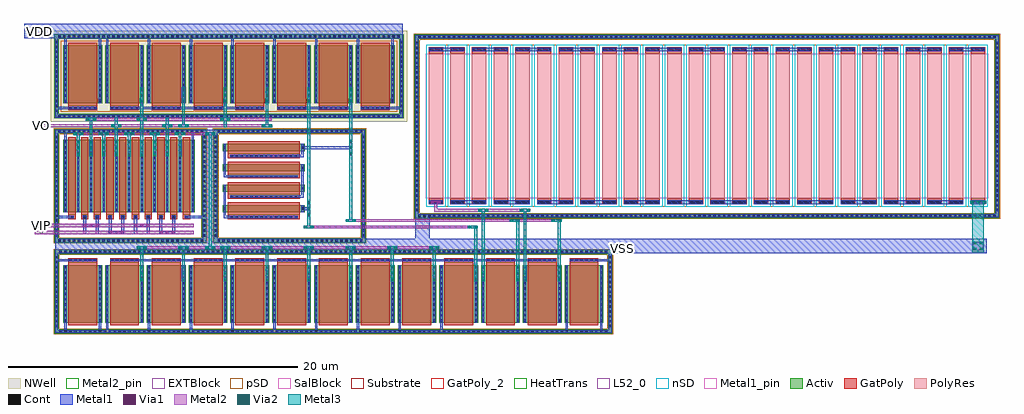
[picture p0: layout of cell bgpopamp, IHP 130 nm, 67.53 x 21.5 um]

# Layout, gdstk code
import gdstk
lib = gdstk.Library(unit=1e-6, precision=5e-09)
def R(c, l, rs):  # rectangles x0, y0, x1, y1
    for r in rs: c.add(gdstk.rectangle(r[:2], r[2:], *l))
def A(c, l, x, y, w, h, nx, ny, dx, dy):  # array of equal rectangles
    R(c, l, [(x+i*dx, y+j*dy, x+i*dx+w, y+j*dy+h) for i in range(nx) for j in range(ny)])
Activ = (1, 0)
GatPoly = (5, 0)
GatPoly_2 = (5, 2)
Cont = (6, 0)
nSD = (7, 0)
Metal1 = (8, 0)
Metal1_pin = (8, 2)
Metal2 = (10, 0)
Metal2_pin = (10, 2)
pSD = (14, 0)
Via1 = (19, 0)
SalBlock = (28, 0)
Via2 = (29, 0)
Metal3 = (30, 0)
NWell = (31, 0)
Substrate = (40, 0)
HeatTrans = (51, 0)
L52_0 = (52, 0)
EXTBlock = (111, 0)
PolyRes = (128, 0)

pmos = lib.new_cell('pmos')
R(pmos, Activ, [(0,0,0.3,0.3), (0,0,2.68,4), (2.38,0,2.68,0.3)])
R(pmos, GatPoly, [(0.34,-0.18,2.34,4.18), (0.34,-0.18,2.34,4.18)])
A(pmos, Cont, 0.07, 0.07, 0.16, 0.16, 1, 11, 0, 0.37)
A(pmos, Cont, 2.45, 0.07, 0.16, 0.16, 1, 11, 0, 0.37)
R(pmos, Metal1, [(0.07,0,0.23,4), (0.07,0,0.23,4), (2.45,0,2.61,4), (2.45,0,2.61,4)])
R(pmos, pSD, [(-0.18,-0.3,2.86,4.3)])
R(pmos, NWell, [(-0.31,-0.31,2.99,4.31)])
R(pmos, Substrate, [(2.38,0,2.68,0.3)])
R(pmos, HeatTrans, [(0.34,-0.18,2.34,4.18)])
pmos.add(gdstk.Label('pmos', (1.34,2), layer=63, texttype=0))
pmos.add(gdstk.Label('pmos', (1.34,2), layer=51, texttype=0))

nmos_1 = lib.new_cell('nmos$1')
A(nmos_1, Activ, 0, 0, 0.3, 0.3, 11, 1, 0.88, 0)
R(nmos_1, Activ, [(0,0,9.1,5)])
A(nmos_1, GatPoly, 0.34, -0.18, 0.5, 5.36, 10, 1, 0.88, 0)
R(nmos_1, GatPoly_2, [(0.34,-0.18,0.84,5.18)])
A(nmos_1, Cont, 0.07, 0.07, 0.16, 0.16, 11, 4, 0.88, 0.36)
A(nmos_1, Cont, 0.07, 1.515, 0.16, 0.16, 11, 3, 0.88, 0.36)
A(nmos_1, Cont, 0.07, 2.6, 0.16, 0.16, 11, 3, 0.88, 0.36)
A(nmos_1, Cont, 0.07, 3.685, 0.16, 0.16, 11, 3, 0.88, 0.36)
A(nmos_1, Cont, 0.07, 4.77, 0.16, 0.16, 11, 1, 0.88, 0)
A(nmos_1, Metal1, 0.07, 0, 0.16, 5, 11, 1, 0.88, 0)
R(nmos_1, Metal1_pin, [(0.07,0,0.23,5), (0.95,0,1.11,5)])
A(nmos_1, HeatTrans, 0.34, -0.18, 0.5, 5.36, 10, 1, 0.88, 0)
nmos_1.add(gdstk.Label('nmos', (0.59,2.5), layer=63, texttype=0))
nmos_1.add(gdstk.Label('nmos', (0.59,2.5), layer=51, texttype=0))
nmos_1.add(gdstk.Label('nmos', (1.47,2.5), layer=51, texttype=0))
nmos_1.add(gdstk.Label('nmos', (2.35,2.5), layer=51, texttype=0))
nmos_1.add(gdstk.Label('nmos', (3.23,2.5), layer=51, texttype=0))
nmos_1.add(gdstk.Label('nmos', (4.11,2.5), layer=51, texttype=0))
nmos_1.add(gdstk.Label('nmos', (4.99,2.5), layer=51, texttype=0))
nmos_1.add(gdstk.Label('nmos', (5.87,2.5), layer=51, texttype=0))
nmos_1.add(gdstk.Label('nmos', (6.75,2.5), layer=51, texttype=0))
nmos_1.add(gdstk.Label('nmos', (7.63,2.5), layer=51, texttype=0))
nmos_1.add(gdstk.Label('nmos', (8.51,2.5), layer=51, texttype=0))

nmos_2 = lib.new_cell('nmos$2')
R(nmos_2, Activ, [(0,0,0.3,0.3), (0,0,5.68,0.5), (5.38,0,5.68,0.3)])
R(nmos_2, GatPoly, [(0.34,-0.18,5.34,0.68)])
R(nmos_2, GatPoly_2, [(0.34,-0.18,5.34,0.68)])
R(nmos_2, Cont, [(0.07,0.17,0.23,0.33), (5.45,0.17,5.61,0.33)])
R(nmos_2, Metal1, [(0.07,0,0.23,0.5), (5.45,0,5.61,0.5)])
R(nmos_2, Metal1_pin, [(0.07,0,0.23,0.5), (5.45,0,5.61,0.5)])
R(nmos_2, HeatTrans, [(0.34,-0.18,5.34,0.68)])
nmos_2.add(gdstk.Label('nmos', (2.84,0.25), layer=63, texttype=0))
nmos_2.add(gdstk.Label('nmos', (2.84,0.25), layer=51, texttype=0))

via_stack = lib.new_cell('via_stack')
R(via_stack, GatPoly, [(-2.36,-0.15,2.36,0.15)])
A(via_stack, Cont, -2.29, -0.08, 0.16, 0.16, 14, 1, 0.34, 0)
R(via_stack, Metal1, [(-2.34,-0.08,2.34,0.08)])

via_stack_1 = lib.new_cell('via_stack$1')
R(via_stack_1, Activ, [(-11.88,-0.15,11.88,0.15)])
A(via_stack_1, Cont, -11.81, -0.08, 0.16, 0.16, 70, 1, 0.34, 0)
R(via_stack_1, Metal1, [(-11.86,-0.08,11.86,0.08)])

via_stack_3 = lib.new_cell('via_stack$3')
R(via_stack_3, GatPoly, [(-1,-0.15,1,0.15)])
A(via_stack_3, Cont, -0.93, -0.08, 0.16, 0.16, 6, 1, 0.34, 0)
R(via_stack_3, Metal1, [(-0.98,-0.08,0.98,0.08)])

via_stack_4 = lib.new_cell('via_stack$4')
R(via_stack_4, Activ, [(-0.15,-2.53,0.15,2.53)])
A(via_stack_4, Cont, -0.08, -2.46, 0.16, 0.16, 1, 15, 0, 0.34)
R(via_stack_4, Metal1, [(-0.08,-2.51,0.08,2.51)])

via_stack_6 = lib.new_cell('via_stack$6')
R(via_stack_6, GatPoly, [(-0.15,-0.15,0.15,0.15)])
R(via_stack_6, Cont, [(-0.08,-0.08,0.08,0.08)])
R(via_stack_6, Metal1, [(-0.13,-0.08,0.13,0.08)])

via_stack_7 = lib.new_cell('via_stack$7')
R(via_stack_7, Activ, [(-19.02,-0.15,19.02,0.15)])
A(via_stack_7, Cont, -18.95, -0.08, 0.16, 0.16, 112, 1, 0.34, 0)
R(via_stack_7, Metal1, [(-19,-0.08,19,0.08)])

via_stack_22 = lib.new_cell('via_stack$22')
R(via_stack_22, Metal1, [(-0.555,-0.105,0.555,0.105)])
R(via_stack_22, Metal2, [(-0.555,-0.1,0.555,0.1)])
A(via_stack_22, Via1, -0.505, -0.095, 0.19, 0.19, 3, 1, 0.41, 0)

via_stack_8 = lib.new_cell('via_stack$8')
R(via_stack_8, Activ, [(-5.08,-0.15,5.08,0.15)])
A(via_stack_8, Cont, -5.01, -0.08, 0.16, 0.16, 30, 1, 0.34, 0)
R(via_stack_8, Metal1, [(-5.06,-0.08,5.06,0.08)])

via_stack_14 = lib.new_cell('via_stack$14')
R(via_stack_14, Activ, [(-0.15,-3.55,0.15,3.55)])
A(via_stack_14, Cont, -0.08, -3.48, 0.16, 0.16, 1, 21, 0, 0.34)
R(via_stack_14, Metal1, [(-0.08,-3.53,0.08,3.53)])

rhigh_1 = lib.new_cell('rhigh$1')
A(rhigh_1, GatPoly, 0, -0.43, 1, 0.43, 26, 2, 1.5, 10.43)
A(rhigh_1, Cont, 0.07, -0.36, 0.86, 0.16, 26, 2, 1.5, 10.56)
A(rhigh_1, nSD, -0.18, -0.61, 1.36, 0.79, 26, 2, 1.5, 10.43)
R(rhigh_1, nSD, [(-0.18,0,1.18,10), (-0.18,0,1.18,10), (1.32,0,2.68,10), (1.32,0,2.68,10), (2.82,0,4.18,10), (2.82,0,4.18,10), (4.32,0,5.68,10), (4.32,0,5.68,10), (5.82,0,7.18,10), (5.82,0,7.18,10), (7.32,0,8.68,10), (7.32,0,8.68,10), (8.82,0,10.18,10), (8.82,0,10.18,10), (10.32,0,11.68,10), (10.32,0,11.68,10), (11.82,0,13.18,10), (11.82,0,13.18,10), (13.32,0,14.68,10), (13.32,0,14.68,10), (14.82,0,16.18,10), (14.82,0,16.18,10), (16.32,0,17.68,10), (16.32,0,17.68,10), (17.82,0,19.18,10), (17.82,0,19.18,10), (19.32,0,20.68,10), (19.32,0,20.68,10), (20.82,0,22.18,10), (20.82,0,22.18,10), (22.32,0,23.68,10), (22.32,0,23.68,10), (23.82,0,25.18,10), (23.82,0,25.18,10), (25.32,0,26.68,10), (25.32,0,26.68,10), (26.82,0,28.18,10), (26.82,0,28.18,10), (28.32,0,29.68,10), (28.32,0,29.68,10), (29.82,0,31.18,10), (29.82,0,31.18,10), (31.32,0,32.68,10), (31.32,0,32.68,10), (32.82,0,34.18,10), (32.82,0,34.18,10), (34.32,0,35.68,10), (34.32,0,35.68,10), (35.82,0,37.18,10), (35.82,0,37.18,10), (37.32,0,38.68,10), (37.32,0,38.68,10)])
A(rhigh_1, Metal1, 0.02, -0.41, 0.96, 0.26, 26, 2, 1.5, 10.56)
A(rhigh_1, Metal1, 1.52, -0.41, 2.46, 0.26, 12, 1, 3, 0)
A(rhigh_1, Metal1, 0.02, 10.15, 2.46, 0.26, 13, 1, 3, 0)
A(rhigh_1, Metal1_pin, 0.02, -0.41, 0.96, 0.26, 26, 2, 1.5, 10.56)
A(rhigh_1, pSD, -0.18, -0.61, 1.36, 0.79, 26, 2, 1.5, 10.43)
R(rhigh_1, pSD, [(-0.18,0,1.18,10), (-0.18,0,1.18,10), (1.32,0,2.68,10), (1.32,0,2.68,10), (2.82,0,4.18,10), (2.82,0,4.18,10), (4.32,0,5.68,10), (4.32,0,5.68,10), (5.82,0,7.18,10), (5.82,0,7.18,10), (7.32,0,8.68,10), (7.32,0,8.68,10), (8.82,0,10.18,10), (8.82,0,10.18,10), (10.32,0,11.68,10), (10.32,0,11.68,10), (11.82,0,13.18,10), (11.82,0,13.18,10), (13.32,0,14.68,10), (13.32,0,14.68,10), (14.82,0,16.18,10), (14.82,0,16.18,10), (16.32,0,17.68,10), (16.32,0,17.68,10), (17.82,0,19.18,10), (17.82,0,19.18,10), (19.32,0,20.68,10), (19.32,0,20.68,10), (20.82,0,22.18,10), (20.82,0,22.18,10), (22.32,0,23.68,10), (22.32,0,23.68,10), (23.82,0,25.18,10), (23.82,0,25.18,10), (25.32,0,26.68,10), (25.32,0,26.68,10), (26.82,0,28.18,10), (26.82,0,28.18,10), (28.32,0,29.68,10), (28.32,0,29.68,10), (29.82,0,31.18,10), (29.82,0,31.18,10), (31.32,0,32.68,10), (31.32,0,32.68,10), (32.82,0,34.18,10), (32.82,0,34.18,10), (34.32,0,35.68,10), (34.32,0,35.68,10), (35.82,0,37.18,10), (35.82,0,37.18,10), (37.32,0,38.68,10), (37.32,0,38.68,10)])
A(rhigh_1, SalBlock, -0.2, 0, 1.4, 10, 26, 1, 1.5, 0)
A(rhigh_1, L52_0, 0, 0, 1, 10, 26, 1, 1.5, 0)
A(rhigh_1, EXTBlock, -0.18, -0.61, 1.36, 0.79, 26, 2, 1.5, 10.43)
A(rhigh_1, EXTBlock, -0.2, 0, 1.4, 10, 26, 1, 1.5, 0)
A(rhigh_1, PolyRes, 0, 0, 1, 10, 26, 1, 1.5, 0)
rhigh_1.add(gdstk.Label('rhigh r=14326.667', (0.5,5), layer=63, texttype=0))
rhigh_1.add(gdstk.Label('rhigh r=14326.667', (0.5,5), layer=63, texttype=0))
rhigh_1.add(gdstk.Label('rhigh r=14326.667', (0.5,5), layer=63, texttype=0))
rhigh_1.add(gdstk.Label('rhigh r=14326.667', (0.5,5), layer=63, texttype=0))
rhigh_1.add(gdstk.Label('rhigh r=14326.667', (0.5,5), layer=63, texttype=0))
rhigh_1.add(gdstk.Label('rhigh r=14326.667', (0.5,5), layer=63, texttype=0))
rhigh_1.add(gdstk.Label('rhigh r=14326.667', (0.5,5), layer=63, texttype=0))
rhigh_1.add(gdstk.Label('rhigh r=14326.667', (0.5,5), layer=63, texttype=0))
rhigh_1.add(gdstk.Label('rhigh r=14326.667', (0.5,5), layer=63, texttype=0))
rhigh_1.add(gdstk.Label('rhigh r=14326.667', (0.5,5), layer=63, texttype=0))
rhigh_1.add(gdstk.Label('rhigh r=14326.667', (0.5,5), layer=63, texttype=0))
rhigh_1.add(gdstk.Label('rhigh r=14326.667', (0.5,5), layer=63, texttype=0))
rhigh_1.add(gdstk.Label('rhigh r=14326.667', (0.5,5), layer=63, texttype=0))
rhigh_1.add(gdstk.Label('rhigh r=14326.667', (0.5,5), layer=63, texttype=0))
rhigh_1.add(gdstk.Label('rhigh r=14326.667', (0.5,5), layer=63, texttype=0))
rhigh_1.add(gdstk.Label('rhigh r=14326.667', (0.5,5), layer=63, texttype=0))
rhigh_1.add(gdstk.Label('rhigh r=14326.667', (0.5,5), layer=63, texttype=0))
rhigh_1.add(gdstk.Label('rhigh r=14326.667', (0.5,5), layer=63, texttype=0))
rhigh_1.add(gdstk.Label('rhigh r=14326.667', (0.5,5), layer=63, texttype=0))
rhigh_1.add(gdstk.Label('rhigh r=14326.667', (0.5,5), layer=63, texttype=0))
rhigh_1.add(gdstk.Label('rhigh r=14326.667', (0.5,5), layer=63, texttype=0))
rhigh_1.add(gdstk.Label('rhigh r=14326.667', (0.5,5), layer=63, texttype=0))
rhigh_1.add(gdstk.Label('rhigh r=14326.667', (0.5,5), layer=63, texttype=0))
rhigh_1.add(gdstk.Label('rhigh r=14326.667', (0.5,5), layer=63, texttype=0))
rhigh_1.add(gdstk.Label('rhigh r=14326.667', (0.5,5), layer=63, texttype=0))
rhigh_1.add(gdstk.Label('rhigh r=14326.667', (0.5,5), layer=63, texttype=0))
rhigh_1.add(gdstk.Label('rhigh', (0.5,5), layer=52, texttype=0))
rhigh_1.add(gdstk.Label('rhigh', (2,5), layer=52, texttype=0))
rhigh_1.add(gdstk.Label('rhigh', (3.5,5), layer=52, texttype=0))
rhigh_1.add(gdstk.Label('rhigh', (5,5), layer=52, texttype=0))
rhigh_1.add(gdstk.Label('rhigh', (6.5,5), layer=52, texttype=0))
rhigh_1.add(gdstk.Label('rhigh', (8,5), layer=52, texttype=0))
rhigh_1.add(gdstk.Label('rhigh', (9.5,5), layer=52, texttype=0))
rhigh_1.add(gdstk.Label('rhigh', (11,5), layer=52, texttype=0))
rhigh_1.add(gdstk.Label('rhigh', (12.5,5), layer=52, texttype=0))
rhigh_1.add(gdstk.Label('rhigh', (14,5), layer=52, texttype=0))
rhigh_1.add(gdstk.Label('rhigh', (15.5,5), layer=52, texttype=0))
rhigh_1.add(gdstk.Label('rhigh', (17,5), layer=52, texttype=0))
rhigh_1.add(gdstk.Label('rhigh', (18.5,5), layer=52, texttype=0))
rhigh_1.add(gdstk.Label('rhigh', (20,5), layer=52, texttype=0))
rhigh_1.add(gdstk.Label('rhigh', (21.5,5), layer=52, texttype=0))
rhigh_1.add(gdstk.Label('rhigh', (23,5), layer=52, texttype=0))
rhigh_1.add(gdstk.Label('rhigh', (24.5,5), layer=52, texttype=0))
rhigh_1.add(gdstk.Label('rhigh', (26,5), layer=52, texttype=0))
rhigh_1.add(gdstk.Label('rhigh', (27.5,5), layer=52, texttype=0))
rhigh_1.add(gdstk.Label('rhigh', (29,5), layer=52, texttype=0))
rhigh_1.add(gdstk.Label('rhigh', (30.5,5), layer=52, texttype=0))
rhigh_1.add(gdstk.Label('rhigh', (32,5), layer=52, texttype=0))
rhigh_1.add(gdstk.Label('rhigh', (33.5,5), layer=52, texttype=0))
rhigh_1.add(gdstk.Label('rhigh', (35,5), layer=52, texttype=0))
rhigh_1.add(gdstk.Label('rhigh', (36.5,5), layer=52, texttype=0))
rhigh_1.add(gdstk.Label('rhigh', (38,5), layer=52, texttype=0))

via_stack_12 = lib.new_cell('via_stack$12')
R(via_stack_12, Activ, [(-20.04,-0.15,20.04,0.15)])
A(via_stack_12, Cont, -19.97, -0.08, 0.16, 0.16, 118, 1, 0.34, 0)
R(via_stack_12, Metal1, [(-20.02,-0.08,20.02,0.08)])

via_stack_17 = lib.new_cell('via_stack$17')
R(via_stack_17, Activ, [(-0.15,-5.93,0.15,5.93)])
A(via_stack_17, Cont, -0.08, -5.86, 0.16, 0.16, 1, 35, 0, 0.34)
R(via_stack_17, Metal1, [(-0.08,-5.91,0.08,5.91)])

nmos = lib.new_cell('nmos')
R(nmos, Activ, [(0,0,0.3,0.3), (0,0,2.68,4), (2.38,0,2.68,0.3)])
R(nmos, GatPoly, [(0.34,-0.18,2.34,4.18)])
R(nmos, GatPoly_2, [(0.34,-0.18,2.34,4.18)])
A(nmos, Cont, 0.07, 0.07, 0.16, 0.16, 1, 11, 0, 0.37)
A(nmos, Cont, 2.45, 0.07, 0.16, 0.16, 1, 11, 0, 0.37)
R(nmos, Metal1, [(0.07,0,0.23,4), (2.45,0,2.61,4)])
R(nmos, Metal1_pin, [(0.07,0,0.23,4), (2.45,0,2.61,4)])
R(nmos, HeatTrans, [(0.34,-0.18,2.34,4.18)])
nmos.add(gdstk.Label('nmos', (1.34,2), layer=63, texttype=0))
nmos.add(gdstk.Label('nmos', (1.34,2), layer=51, texttype=0))

via_stack_23 = lib.new_cell('via_stack$23')
R(via_stack_23, Metal1, [(-0.105,-0.555,0.105,0.555)])
R(via_stack_23, Metal2, [(-0.1,-0.555,0.1,0.555)])
A(via_stack_23, Via1, -0.095, -0.505, 0.19, 0.19, 1, 3, 0, 0.41)
A(via_stack_23, Via2, -0.095, -0.505, 0.19, 0.19, 1, 3, 0, 0.41)
R(via_stack_23, Metal3, [(-0.1,-0.555,0.1,0.555)])

via_stack_10 = lib.new_cell('via_stack$10')
R(via_stack_10, Metal1, [(-0.35,-0.105,0.35,0.105)])
R(via_stack_10, Metal2, [(-0.35,-0.1,0.35,0.1)])
R(via_stack_10, Via1, [(-0.3,-0.095,-0.11,0.095), (0.11,-0.095,0.3,0.095)])

via_stack_15 = lib.new_cell('via_stack$15')
R(via_stack_15, Metal2, [(-0.35,-0.1,0.35,0.1)])
R(via_stack_15, Via2, [(-0.3,-0.095,-0.11,0.095), (0.11,-0.095,0.3,0.095)])
R(via_stack_15, Metal3, [(-0.35,-0.1,0.35,0.1)])

via_stack_24 = lib.new_cell('via_stack$24')
R(via_stack_24, Metal1, [(-0.555,-0.105,0.555,0.105)])
R(via_stack_24, Metal2, [(-0.555,-0.1,0.555,0.1)])
A(via_stack_24, Via1, -0.505, -0.095, 0.19, 0.19, 3, 1, 0.41, 0)
A(via_stack_24, Via2, -0.505, -0.095, 0.19, 0.19, 3, 1, 0.41, 0)
R(via_stack_24, Metal3, [(-0.555,-0.1,0.555,0.1)])

via_stack_20 = lib.new_cell('via_stack$20')
R(via_stack_20, Metal1, [(-0.35,-0.31,0.35,0.31)])
R(via_stack_20, Metal2, [(-0.35,-0.305,0.35,0.305)])
R(via_stack_20, Via1, [(-0.3,-0.3,-0.11,-0.11), (0.11,-0.3,0.3,-0.11), (-0.3,0.11,-0.11,0.3), (0.11,0.11,0.3,0.3)])
R(via_stack_20, Via2, [(-0.3,-0.3,-0.11,-0.11), (0.11,-0.3,0.3,-0.11), (-0.3,0.11,-0.11,0.3), (0.11,0.11,0.3,0.3)])
R(via_stack_20, Metal3, [(-0.35,-0.305,0.35,0.305)])

bgpopamp = lib.new_cell('bgpopamp')
R(bgpopamp, Activ, [(19.37,174.25,19.67,180.05), (57.69,174.25,57.99,180.05), (19.37,180.55,19.67,188.4), (29.59,180.55,29.89,188.4), (30.39,180.55,30.69,188.4), (40.61,180.55,40.91,188.4), (44.29,182.245,44.59,194.95), (84.45,182.245,84.75,194.95), (19.37,189.15,19.67,194.95), (43.24,189.15,43.54,194.95)])
A(bgpopamp, GatPoly, 20.34, 182.17, 0.5, 0.3, 10, 1, 0.88, 0)
A(bgpopamp, GatPoly, 31.36, 182.17, 5, 0.3, 1, 4, 0, 1.41)
A(bgpopamp, Metal1, 22.96, 174.5, 0.16, 0.5, 9, 1, 2.89, 0)
A(bgpopamp, Metal1, 22.96, 194.2, 0.16, 0.5, 7, 1, 2.89, 0)
R(bgpopamp, Metal1, [(20.07,174.5,20.23,175), (22.45,174.5,22.61,175), (54.75,174.5,54.91,175), (57.13,174.5,57.29,175), (48.435,179,48.645,179.25), (19.62,179.25,20.36,179.41), (23.25,179.25,54.11,179.41), (57,179.25,57.74,179.41), (19.42,179.8,83.87,180.8), (29.84,180.8,30.44,188.35), (44.34,180.8,45.34,182.495), (19.62,182.24,20.46,182.4), (28.64,182.24,29.64,182.4), (20.07,187.65,20.23,188.15), (28.87,187.65,29.03,188.15), (19.62,189.79,20.36,189.95), (23.25,189.79,33.88,189.95), (36.77,189.79,37.7,189.95), (42.55,189.79,43.29,189.95), (20.07,194.2,20.23,194.7), (22.45,194.2,22.61,194.7), (42.68,194.2,42.84,194.7), (17.275,194.7,43.49,195.7)])
R(bgpopamp, Metal1_pin, [(58.505,179.995,59.025,180.365), (18.16,195.05,18.68,195.42)])
R(bgpopamp, Metal2_pin, [(18.365,181.145,18.565,181.345), (18.365,181.645,18.565,181.845), (18.365,188.53,18.565,188.73)])
R(bgpopamp, pSD, [(45.09,183.015,83.95,194.235), (19.82,189.6,43.09,194.5)])
R(bgpopamp, SalBlock, [(45.07,183.625,83.97,193.625)])
R(bgpopamp, NWell, [(19.12,188.9,43.79,195.2)])
R(bgpopamp, EXTBlock, [(45.09,183.015,83.95,194.235)])
bgpopamp.add(gdstk.FlexPath([(39.66,189.87),(39.87,189.87),(39.87,190.2)], 0.16, ends="flush", simple_path=True, layer=8, datatype=0))  # Metal1
bgpopamp.add(gdstk.FlexPath([(25.21,189.87),(25.42,189.87),(25.42,190.2)], 0.16, ends="flush", simple_path=True, layer=8, datatype=0))  # Metal1
bgpopamp.add(gdstk.FlexPath([(30.99,189.87),(31.2,189.87),(31.2,190.2)], 0.16, ends="flush", simple_path=True, layer=8, datatype=0))  # Metal1
bgpopamp.add(gdstk.FlexPath([(36.63,187.125),(39.975,187.125)], 0.2, ends="flush", simple_path=True, layer=8, datatype=0))  # Metal1
bgpopamp.add(gdstk.FlexPath([(36.55,186.88),(36.55,186.55),(36.21,186.55)], 0.16, ends="flush", simple_path=True, layer=8, datatype=0))  # Metal1
bgpopamp.add(gdstk.FlexPath([(31.17,186.88),(31.17,185.97)], 0.16, ends="flush", simple_path=True, layer=8, datatype=0))  # Metal1
bgpopamp.add(gdstk.FlexPath([(31.17,185.47),(31.17,185.14),(31.53,185.14)], 0.16, ends="flush", simple_path=True, layer=8, datatype=0))  # Metal1
bgpopamp.add(gdstk.FlexPath([(31.17,184.06),(31.17,183.15)], 0.16, ends="flush", simple_path=True, layer=8, datatype=0))  # Metal1
bgpopamp.add(gdstk.FlexPath([(31.17,182.65),(31.17,182.32),(31.53,182.32)], 0.16, ends="flush", simple_path=True, layer=8, datatype=0))  # Metal1
bgpopamp.add(gdstk.FlexPath([(36.55,185.47),(36.55,184.56)], 0.16, ends="flush", simple_path=True, layer=8, datatype=0))  # Metal1
bgpopamp.add(gdstk.FlexPath([(36.55,184.06),(36.55,183.73),(36.19,183.73)], 0.16, ends="flush", simple_path=True, layer=8, datatype=0))  # Metal1
bgpopamp.add(gdstk.FlexPath([(36.63,182.9),(37.085,182.9)], 0.2, ends="flush", simple_path=True, layer=8, datatype=0))  # Metal1
bgpopamp.add(gdstk.FlexPath([(19.42,194.8),(43.39,194.8),(43.39,189.3),(19.52,189.3),(19.52,194.7)], 0.2, ends="flush", simple_path=True, layer=8, datatype=0))  # Metal1
bgpopamp.add(gdstk.FlexPath([(19.42,179.9),(57.84,179.9),(57.84,174.4),(19.52,174.4),(19.52,179.8)], 0.2, ends="flush", simple_path=True, layer=8, datatype=0))  # Metal1
bgpopamp.add(gdstk.FlexPath([(19.42,188.25),(29.74,188.25),(29.74,180.7),(19.52,180.7),(19.52,188.15)], 0.2, ends="flush", simple_path=True, layer=8, datatype=0))  # Metal1
bgpopamp.add(gdstk.FlexPath([(21.47,182.45),(21.47,181.14)], 0.21, ends="flush", simple_path=True, layer=8, datatype=0))  # Metal1
bgpopamp.add(gdstk.FlexPath([(22.35,182.45),(22.35,181.14)], 0.21, ends="flush", simple_path=True, layer=8, datatype=0))  # Metal1
bgpopamp.add(gdstk.FlexPath([(23.23,182.45),(23.23,181.14)], 0.21, ends="flush", simple_path=True, layer=8, datatype=0))  # Metal1
bgpopamp.add(gdstk.FlexPath([(24.11,182.45),(24.11,181.14)], 0.21, ends="flush", simple_path=True, layer=8, datatype=0))  # Metal1
bgpopamp.add(gdstk.FlexPath([(24.99,182.45),(24.99,181.14)], 0.21, ends="flush", simple_path=True, layer=8, datatype=0))  # Metal1
bgpopamp.add(gdstk.FlexPath([(25.87,182.45),(25.87,181.14)], 0.21, ends="flush", simple_path=True, layer=8, datatype=0))  # Metal1
bgpopamp.add(gdstk.FlexPath([(26.75,182.45),(26.75,181.14)], 0.21, ends="flush", simple_path=True, layer=8, datatype=0))  # Metal1
bgpopamp.add(gdstk.FlexPath([(27.63,182.45),(27.63,181.14)], 0.21, ends="flush", simple_path=True, layer=8, datatype=0))  # Metal1
bgpopamp.add(gdstk.FlexPath([(30.44,188.25),(40.76,188.25),(40.76,180.7),(30.54,180.7),(30.54,188.15)], 0.2, ends="flush", simple_path=True, layer=8, datatype=0))  # Metal1
bgpopamp.add(gdstk.FlexPath([(44.34,194.8),(84.6,194.8),(84.6,182.395),(44.44,182.395),(44.44,194.7)], 0.2, ends="flush", simple_path=True, layer=8, datatype=0))  # Metal1
bgpopamp.add(gdstk.FlexPath([(45.765,183.445),(45.765,182.78),(52.29,182.78)], 0.2, ends="flush", simple_path=True, layer=10, datatype=0))  # Metal2
bgpopamp.add(gdstk.FlexPath([(54.465,182.08),(39.52,182.08)], 0.2, ends="flush", simple_path=True, layer=10, datatype=0))  # Metal2
bgpopamp.add(gdstk.FlexPath([(48.685,181.63),(36.63,181.63)], 0.2, ends="flush", simple_path=True, layer=10, datatype=0))  # Metal2
bgpopamp.add(gdstk.FlexPath([(45.815,180.2),(25.22,180.2)], 0.2, ends="flush", simple_path=True, layer=10, datatype=0))  # Metal2
bgpopamp.add(gdstk.FlexPath([(18.035,188.63),(34.425,188.63)], 0.2, ends="flush", simple_path=True, layer=10, datatype=0))  # Metal2
bgpopamp.add(gdstk.FlexPath([(20.68,188.08),(30.155,188.08)], 0.2, ends="flush", simple_path=True, layer=10, datatype=0))  # Metal2
bgpopamp.add(gdstk.FlexPath([(21.56,189.08),(34.425,189.08)], 0.2, ends="flush", simple_path=True, layer=10, datatype=0))  # Metal2
bgpopamp.add(gdstk.FlexPath([(18.025,181.745),(29.02,181.745)], 0.25, ends="flush", simple_path=True, layer=10, datatype=0))  # Metal2
bgpopamp.add(gdstk.FlexPath([(18.025,181.245),(29.02,181.245)], 0.25, ends="flush", simple_path=True, layer=10, datatype=0))  # Metal2
bgpopamp.add(gdstk.FlexPath([(49.05,178.3),(49.05,182.88)], 0.2, ends="flush", simple_path=True, layer=30, datatype=0))  # Metal3
bgpopamp.add(gdstk.FlexPath([(51.94,178.3),(51.94,182.88)], 0.2, ends="flush", simple_path=True, layer=30, datatype=0))  # Metal3
bgpopamp.add(gdstk.FlexPath([(83.28,179.865),(83.28,183.445)], 0.8, ends="flush", simple_path=True, layer=30, datatype=0))  # Metal3
bgpopamp.add(gdstk.FlexPath([(54.32,178.3),(54.32,182.18)], 0.2, ends="flush", simple_path=True, layer=30, datatype=0))  # Metal3
bgpopamp.add(gdstk.FlexPath([(51.43,178.3),(51.43,182.18)], 0.2, ends="flush", simple_path=True, layer=30, datatype=0))  # Metal3
bgpopamp.add(gdstk.FlexPath([(39.87,190.9),(39.87,181.98)], 0.2, ends="flush", simple_path=True, layer=30, datatype=0))  # Metal3
bgpopamp.add(gdstk.FlexPath([(36.98,190.9),(36.98,181.53)], 0.2, ends="flush", simple_path=True, layer=30, datatype=0))  # Metal3
bgpopamp.add(gdstk.FlexPath([(48.54,178.3),(48.54,181.73)], 0.2, ends="flush", simple_path=True, layer=30, datatype=0))  # Metal3
bgpopamp.add(gdstk.FlexPath([(42.76,178.3),(42.76,180.3)], 0.2, ends="flush", simple_path=True, layer=30, datatype=0))  # Metal3
bgpopamp.add(gdstk.FlexPath([(45.65,178.3),(45.65,180.3)], 0.2, ends="flush", simple_path=True, layer=30, datatype=0))  # Metal3
bgpopamp.add(gdstk.FlexPath([(36.98,178.3),(36.98,180.3)], 0.2, ends="flush", simple_path=True, layer=30, datatype=0))  # Metal3
bgpopamp.add(gdstk.FlexPath([(39.87,178.3),(39.87,180.3)], 0.2, ends="flush", simple_path=True, layer=30, datatype=0))  # Metal3
bgpopamp.add(gdstk.FlexPath([(31.2,178.3),(31.2,180.3)], 0.2, ends="flush", simple_path=True, layer=30, datatype=0))  # Metal3
bgpopamp.add(gdstk.FlexPath([(34.09,178.3),(34.09,180.3)], 0.2, ends="flush", simple_path=True, layer=30, datatype=0))  # Metal3
bgpopamp.add(gdstk.FlexPath([(25.42,178.3),(25.42,180.3)], 0.2, ends="flush", simple_path=True, layer=30, datatype=0))  # Metal3
bgpopamp.add(gdstk.FlexPath([(28.31,178.3),(28.31,180.3)], 0.2, ends="flush", simple_path=True, layer=30, datatype=0))  # Metal3
bgpopamp.add(gdstk.FlexPath([(21.91,186.95),(21.91,189.18)], 0.2, ends="flush", simple_path=True, layer=30, datatype=0))  # Metal3
bgpopamp.add(gdstk.FlexPath([(25.43,186.95),(25.43,189.18)], 0.2, ends="flush", simple_path=True, layer=30, datatype=0))  # Metal3
bgpopamp.add(gdstk.FlexPath([(21.03,186.95),(21.03,188.18)], 0.2, ends="flush", simple_path=True, layer=30, datatype=0))  # Metal3
bgpopamp.add(gdstk.FlexPath([(22.79,186.95),(22.79,188.18)], 0.2, ends="flush", simple_path=True, layer=30, datatype=0))  # Metal3
bgpopamp.add(gdstk.FlexPath([(24.55,186.95),(24.55,188.18)], 0.2, ends="flush", simple_path=True, layer=30, datatype=0))  # Metal3
bgpopamp.add(gdstk.FlexPath([(26.31,186.95),(26.31,188.18)], 0.2, ends="flush", simple_path=True, layer=30, datatype=0))  # Metal3
bgpopamp.add(gdstk.FlexPath([(28.07,186.95),(28.07,188.18)], 0.2, ends="flush", simple_path=True, layer=30, datatype=0))  # Metal3
bgpopamp.add(gdstk.FlexPath([(23.67,186.95),(23.67,189.18)], 0.2, ends="flush", simple_path=True, layer=30, datatype=0))  # Metal3
bgpopamp.add(gdstk.FlexPath([(27.19,186.95),(27.19,189.18)], 0.2, ends="flush", simple_path=True, layer=30, datatype=0))  # Metal3
bgpopamp.add(gdstk.FlexPath([(31.2,190.9),(31.2,188.53)], 0.2, ends="flush", simple_path=True, layer=30, datatype=0))  # Metal3
bgpopamp.add(gdstk.FlexPath([(34.09,190.9),(34.09,188.53)], 0.2, ends="flush", simple_path=True, layer=30, datatype=0))  # Metal3
bgpopamp.add(gdstk.FlexPath([(28.31,190.9),(28.31,188.53)], 0.2, ends="flush", simple_path=True, layer=30, datatype=0))  # Metal3
bgpopamp.add(gdstk.FlexPath([(25.42,190.9),(25.42,188.98)], 0.2, ends="flush", simple_path=True, layer=30, datatype=0))  # Metal3
bgpopamp.add(gdstk.FlexPath([(30.15,180.1),(30.15,188.18)], 0.2, ends="flush", simple_path=True, layer=30, datatype=0))  # Metal3
bgpopamp.add(gdstk.FlexPath([(19.32,179.9),(57.84,179.9),(57.84,174.4),(19.52,174.4),(19.52,179.7)], 0.4, ends="flush", simple_path=True, layer=14, datatype=0))  # pSD
bgpopamp.add(gdstk.FlexPath([(19.32,188.25),(29.74,188.25),(29.74,180.7),(19.52,180.7),(19.52,188.05)], 0.4, ends="flush", simple_path=True, layer=14, datatype=0))  # pSD
bgpopamp.add(gdstk.FlexPath([(30.34,188.25),(40.76,188.25),(40.76,180.7),(30.54,180.7),(30.54,188.05)], 0.4, ends="flush", simple_path=True, layer=14, datatype=0))  # pSD
bgpopamp.add(gdstk.FlexPath([(44.24,194.8),(84.6,194.8),(84.6,182.395),(44.44,182.395),(44.44,194.6)], 0.4, ends="flush", simple_path=True, layer=14, datatype=0))  # pSD
r = gdstk.Reference(pmos, (20,190.2)); r.repetition = gdstk.Repetition(8, 1, v1=(2.89,0), v2=(0,0)); bgpopamp.add(r)
bgpopamp.add(gdstk.Reference(nmos_1, (20,182.65)))
r = gdstk.Reference(nmos_2, (31.02,182.65)); r.repetition = gdstk.Repetition(1, 4, v1=(0,0), v2=(0,1.41)); bgpopamp.add(r)
bgpopamp.add(gdstk.Reference(via_stack, (33.87,182.32)))
bgpopamp.add(gdstk.Reference(via_stack, (33.87,183.73)))
bgpopamp.add(gdstk.Reference(via_stack, (33.87,185.14)))
bgpopamp.add(gdstk.Reference(via_stack, (33.87,186.55)))
bgpopamp.add(gdstk.Reference(via_stack_1, (31.455,194.8)))
r = gdstk.Reference(via_stack_3, (21.34,189.87)); r.repetition = gdstk.Repetition(8, 1, v1=(2.89,0), v2=(0,0)); bgpopamp.add(r)
bgpopamp.add(gdstk.Reference(via_stack_1, (31.455,189.3)))
bgpopamp.add(gdstk.Reference(via_stack_4, (43.39,192.05)))
bgpopamp.add(gdstk.Reference(via_stack_4, (19.52,192.05)))
r = gdstk.Reference(via_stack_3, (21.34,179.33)); r.repetition = gdstk.Repetition(13, 1, v1=(2.89,0), v2=(0,0)); bgpopamp.add(r)
r = gdstk.Reference(via_stack_6, (20.59,182.32)); r.repetition = gdstk.Repetition(10, 1, v1=(0.88,0), v2=(0,0)); bgpopamp.add(r)
bgpopamp.add(gdstk.Reference(via_stack_7, (38.68,179.9)))
bgpopamp.add(gdstk.Reference(via_stack_22, (21.91,181.745)))
bgpopamp.add(gdstk.Reference(via_stack_7, (38.68,174.4)))
bgpopamp.add(gdstk.Reference(via_stack_4, (57.84,177.15)))
bgpopamp.add(gdstk.Reference(via_stack_4, (19.52,177.15)))
bgpopamp.add(gdstk.Reference(via_stack_8, (24.655,188.25)))
bgpopamp.add(gdstk.Reference(via_stack_8, (24.655,180.7)))
bgpopamp.add(gdstk.Reference(via_stack_14, (29.74,184.45)))
bgpopamp.add(gdstk.Reference(via_stack_14, (19.52,184.45)))
bgpopamp.add(gdstk.Reference(via_stack_22, (25.43,181.745)))
bgpopamp.add(gdstk.Reference(via_stack_22, (27.19,181.245)))
bgpopamp.add(gdstk.Reference(via_stack_22, (23.67,181.245)))
bgpopamp.add(gdstk.Reference(rhigh_1, (45.27,183.625)))
bgpopamp.add(gdstk.Reference(via_stack_8, (35.675,188.25)))
bgpopamp.add(gdstk.Reference(via_stack_12, (64.53,194.8)))
bgpopamp.add(gdstk.Reference(via_stack_8, (35.675,180.7)))
bgpopamp.add(gdstk.Reference(via_stack_14, (40.76,184.45)))
bgpopamp.add(gdstk.Reference(via_stack_14, (30.54,184.45)))
bgpopamp.add(gdstk.Reference(via_stack_12, (64.53,182.395)))
bgpopamp.add(gdstk.Reference(via_stack_17, (84.6,188.575)))
bgpopamp.add(gdstk.Reference(via_stack_17, (44.44,188.575)))
r = gdstk.Reference(nmos, (20,175)); r.repetition = gdstk.Repetition(13, 1, v1=(2.89,0), v2=(0,0)); bgpopamp.add(r)
bgpopamp.add(gdstk.Reference(via_stack_23, (25.42,178.445)))
bgpopamp.add(gdstk.Reference(via_stack_23, (28.31,178.445)))
bgpopamp.add(gdstk.Reference(via_stack_23, (31.2,178.445)))
bgpopamp.add(gdstk.Reference(via_stack_23, (34.09,178.445)))
bgpopamp.add(gdstk.Reference(via_stack_23, (36.98,178.445)))
bgpopamp.add(gdstk.Reference(via_stack_23, (39.87,178.445)))
bgpopamp.add(gdstk.Reference(via_stack_23, (42.76,178.445)))
bgpopamp.add(gdstk.Reference(via_stack_23, (45.65,178.445)))
bgpopamp.add(gdstk.Reference(via_stack_23, (48.54,178.445)))
bgpopamp.add(gdstk.Reference(via_stack_23, (51.43,178.445)))
bgpopamp.add(gdstk.Reference(via_stack_23, (54.32,178.445)))
bgpopamp.add(gdstk.Reference(via_stack_23, (49.05,178.445)))
bgpopamp.add(gdstk.Reference(via_stack_23, (51.94,178.445)))
bgpopamp.add(gdstk.Reference(via_stack_10, (45.765,183.345)))
bgpopamp.add(gdstk.Reference(via_stack_15, (49.05,182.78)))
bgpopamp.add(gdstk.Reference(via_stack_15, (51.94,182.78)))
bgpopamp.add(gdstk.Reference(via_stack_24, (83.28,183.345)))
bgpopamp.add(gdstk.Reference(via_stack_20, (83.28,180.31)))
bgpopamp.add(gdstk.Reference(via_stack_15, (54.115,182.08)))
bgpopamp.add(gdstk.Reference(via_stack_15, (51.225,182.08)))
bgpopamp.add(gdstk.Reference(via_stack_23, (39.87,190.755)))
bgpopamp.add(gdstk.Reference(via_stack_15, (39.87,182.08)))
bgpopamp.add(gdstk.Reference(via_stack_23, (36.98,190.755)))
bgpopamp.add(gdstk.Reference(via_stack_15, (48.335,181.63)))
bgpopamp.add(gdstk.Reference(via_stack_15, (36.98,181.63)))
bgpopamp.add(gdstk.Reference(via_stack_15, (42.76,180.2)))
bgpopamp.add(gdstk.Reference(via_stack_15, (45.65,180.2)))
bgpopamp.add(gdstk.Reference(via_stack_15, (36.98,180.2)))
bgpopamp.add(gdstk.Reference(via_stack_15, (39.87,180.2)))
bgpopamp.add(gdstk.Reference(via_stack_15, (31.2,180.2)))
bgpopamp.add(gdstk.Reference(via_stack_15, (34.09,180.2)))
bgpopamp.add(gdstk.Reference(via_stack_15, (25.42,180.2)))
bgpopamp.add(gdstk.Reference(via_stack_15, (28.31,180.2)))
bgpopamp.add(gdstk.Reference(via_stack_23, (21.03,187.095)))
bgpopamp.add(gdstk.Reference(via_stack_23, (21.91,187.095)))
bgpopamp.add(gdstk.Reference(via_stack_23, (22.79,187.095)))
bgpopamp.add(gdstk.Reference(via_stack_23, (23.67,187.095)))
bgpopamp.add(gdstk.Reference(via_stack_23, (24.55,187.095)))
bgpopamp.add(gdstk.Reference(via_stack_23, (25.43,187.095)))
bgpopamp.add(gdstk.Reference(via_stack_23, (26.31,187.095)))
bgpopamp.add(gdstk.Reference(via_stack_23, (27.19,187.095)))
bgpopamp.add(gdstk.Reference(via_stack_23, (28.07,187.095)))
bgpopamp.add(gdstk.Reference(via_stack_15, (21.91,189.08)))
bgpopamp.add(gdstk.Reference(via_stack_15, (25.43,189.08)))
bgpopamp.add(gdstk.Reference(via_stack_15, (22.79,188.08)))
bgpopamp.add(gdstk.Reference(via_stack_15, (21.03,188.08)))
bgpopamp.add(gdstk.Reference(via_stack_15, (24.55,188.08)))
bgpopamp.add(gdstk.Reference(via_stack_15, (26.31,188.08)))
bgpopamp.add(gdstk.Reference(via_stack_15, (28.07,188.08)))
bgpopamp.add(gdstk.Reference(via_stack_15, (23.67,188.63)))
bgpopamp.add(gdstk.Reference(via_stack_15, (27.19,188.63)))
bgpopamp.add(gdstk.Reference(via_stack_23, (31.2,190.755)))
bgpopamp.add(gdstk.Reference(via_stack_23, (34.09,190.755)))
bgpopamp.add(gdstk.Reference(via_stack_23, (28.31,190.755)))
bgpopamp.add(gdstk.Reference(via_stack_15, (28.31,188.63)))
bgpopamp.add(gdstk.Reference(via_stack_15, (34.09,188.63)))
bgpopamp.add(gdstk.Reference(via_stack_15, (31.2,189.08)))
bgpopamp.add(gdstk.Reference(via_stack_23, (25.42,190.755)))
bgpopamp.add(gdstk.Reference(via_stack_23, (36.98,182.9)))
bgpopamp.add(gdstk.Reference(via_stack_23, (39.87,187.125)))
bgpopamp.add(gdstk.Reference(via_stack_15, (30.15,188.08)))
bgpopamp.add(gdstk.Reference(via_stack_15, (30.15,180.2)))
bgpopamp.add(gdstk.Label('VSS', (58.69,180.13), layer=8, texttype=25))
bgpopamp.add(gdstk.Label('VDD', (18.345,195.185), layer=8, texttype=25))
bgpopamp.add(gdstk.Label('VO', (18.47,188.63), layer=10, texttype=25))
bgpopamp.add(gdstk.Label('VIP', (18.47,181.745), layer=10, texttype=25))
bgpopamp.add(gdstk.Label('VIM', (18.47,181.245), layer=10, texttype=25))

lib.write_gds('bgpopamp.gds')
